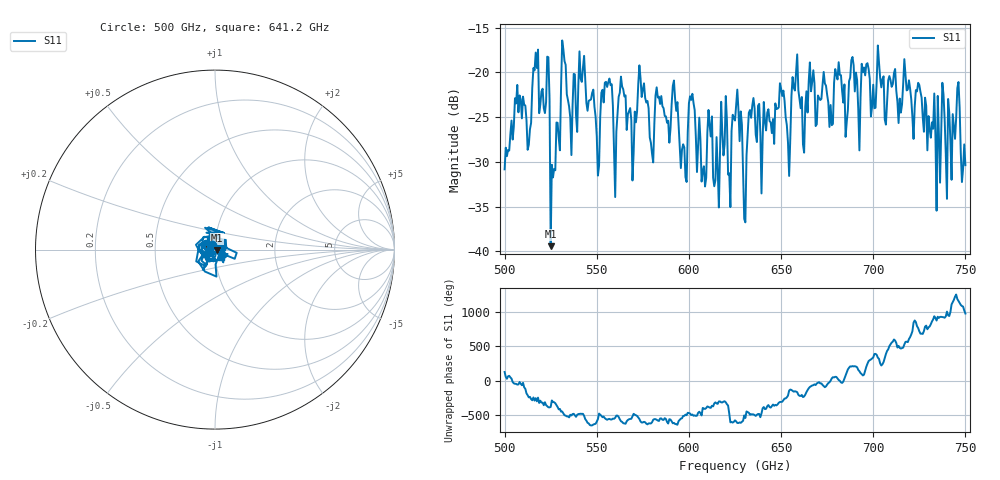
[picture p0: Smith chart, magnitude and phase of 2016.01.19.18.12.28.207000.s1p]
!Created with skrf (http://scikit-rf.org).
# GHz S RI R 50.0
!freq ReS11 ImS11
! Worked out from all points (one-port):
!   401 points, 500 GHz to 750 GHz, reference 50 ohm
!   lowest |S11| = -39.4 dB at 525 GHz (marker M1), VSWR 1.02, Z = 51 - j0.373 ohm
!   |S11| at or under -10 dB: start of sweep to end of sweep
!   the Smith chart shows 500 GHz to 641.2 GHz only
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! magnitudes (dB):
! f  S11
! 500 GHz  -30.8
! 506.9 GHz  -21.4
! 513.1 GHz  -28.1
! 516.9 GHz  -17.8
! 523.1 GHz  -18.3
! 525 GHz  -39.4
! 526.2 GHz  -31.7
! 531.2 GHz  -16.4
! 535.6 GHz  -25.1
! 541.9 GHz  -21.1
! 550.6 GHz  -31.5
! 562.5 GHz  -22.3
! 593.8 GHz  -23.3
! 597.5 GHz  -28.4
! 601.9 GHz  -22.4
! 608.1 GHz  -30.5
! 611.2 GHz  -25.9
! 615 GHz  -27.2
! 625 GHz  -25.4
! 630.6 GHz  -36.8
! 633.8 GHz  -25.1
! 653.8 GHz  -27.9
! 656.2 GHz  -20.5
! 687.5 GHz  -20.6
! 718.8 GHz  -21.9
! 735 GHz  -22.6
! 745.6 GHz  -21.8
! 750 GHz  -30.4
